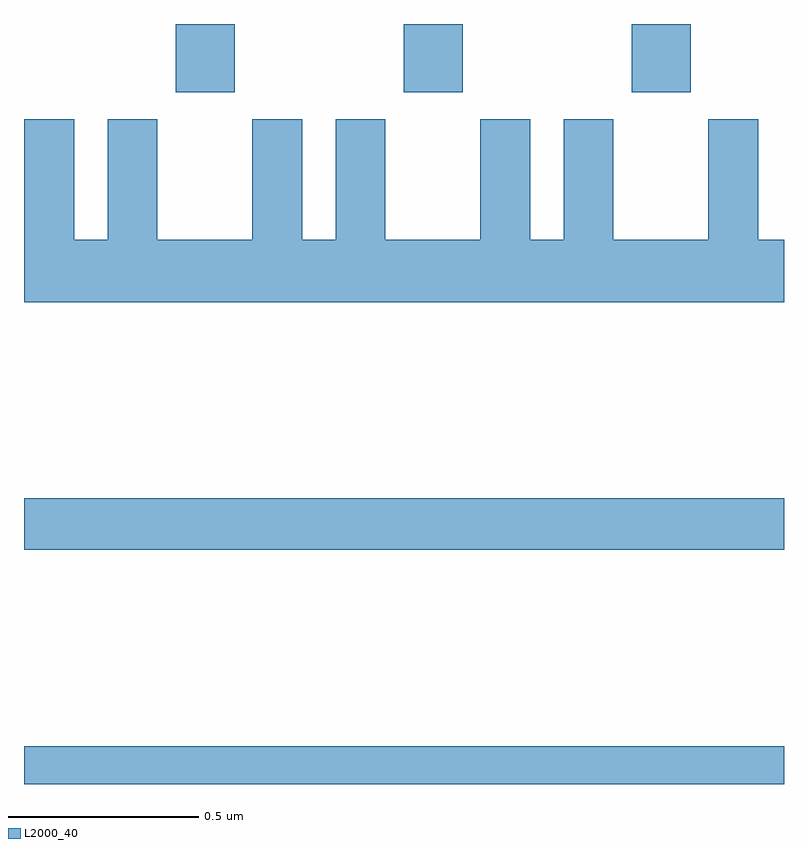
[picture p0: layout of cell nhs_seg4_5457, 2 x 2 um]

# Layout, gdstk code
import gdstk
lib = gdstk.Library(unit=1e-6, precision=1e-09)
def R(c, l, rs):  # rectangles x0, y0, x1, y1
    for r in rs: c.add(gdstk.rectangle(r[:2], r[2:], *l))
def A(c, l, x, y, w, h, nx, ny, dx, dy):  # array of equal rectangles
    R(c, l, [(x+i*dx, y+j*dy, x+i*dx+w, y+j*dy+h) for i in range(nx) for j in range(ny)])
def P(c, l, *ps):  # polygons
    for p in ps: c.add(gdstk.Polygon(p, *l))
L2000_40 = (2000, 40)

nhs_seg4_5457 = lib.new_cell('nhs_seg4_5457')
A(nhs_seg4_5457, L2000_40, 178.399, 782.721, 0.155, 0.179, 3, 1, 0.6, 0)
R(nhs_seg4_5457, L2000_40, [(178,780.9,180,781), (178,781.516,180,781.652)])
P(nhs_seg4_5457, L2000_40, [(180,782.332),(179.932,782.332),(179.932,782.65),(179.801,782.65),(179.801,782.332),(179.551,782.332),(179.551,782.65),(179.42,782.65),(179.42,782.332),(179.332,782.332),(179.332,782.65),(179.201,782.65),(179.201,782.332),(178.951,782.332),(178.951,782.65),(178.82,782.65),(178.82,782.332),(178.732,782.332),(178.732,782.65),(178.601,782.65),(178.601,782.332),(178.351,782.332),(178.351,782.65),(178.22,782.65),(178.22,782.332),(178.132,782.332),(178.132,782.65),(178,782.65),(178,782.168),(180,782.168)])

lib.write_gds('nhs_seg4_5457.gds')
